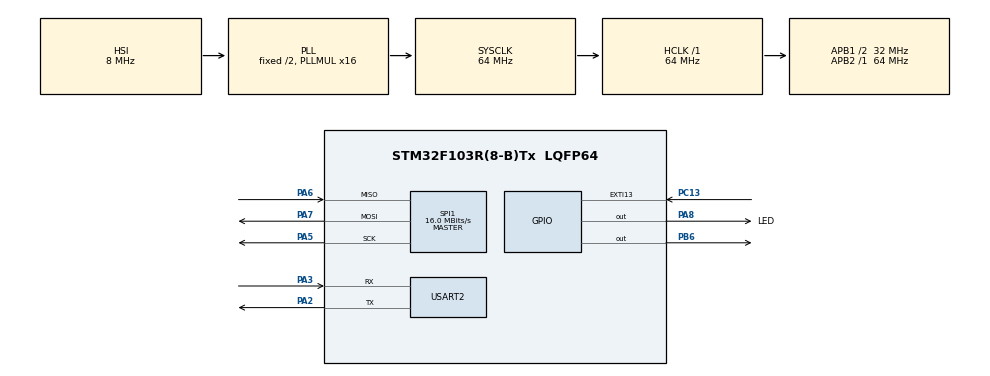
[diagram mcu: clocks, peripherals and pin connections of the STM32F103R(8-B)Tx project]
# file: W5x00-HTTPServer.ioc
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Mcu.Family=STM32F1
Mcu.Name=STM32F103R(8-B)Tx
Mcu.Package=LQFP64
NVIC.EXTI15_10_IRQn=true\:0\:0\:false\:false\:true\:true\:true
NVIC.PriorityGroup=NVIC_PRIORITYGROUP_4
PA13.Mode=Serial_Wire
PA13.Signal=SYS_JTMS-SWDIO
PA14.Mode=Serial_Wire
PA14.Signal=SYS_JTCK-SWCLK
PA2.GPIO_Mode=GPIO_MODE_AF_PP
PA2.GPIO_PuPd=GPIO_NOPULL
PA2.GPIO_Speed=GPIO_SPEED_FREQ_HIGH
PA2.Mode=Asynchronous
PA2.Signal=USART2_TX
PA3.GPIO_Mode=GPIO_MODE_INPUT
PA3.GPIO_PuPd=GPIO_NOPULL
PA3.GPIO_Speed=GPIO_SPEED_FREQ_LOW
PA3.Mode=Asynchronous
PA3.Signal=USART2_RX
PA5.Mode=Full_Duplex_Master
PA5.Signal=SPI1_SCK
PA6.Mode=Full_Duplex_Master
PA6.Signal=SPI1_MISO
PA7.Mode=Full_Duplex_Master
PA7.Signal=SPI1_MOSI
PA8.GPIO_Label=LED
PA8.Signal=GPIO_Output
PB3.Signal=SYS_JTDO-TRACESWO
PB6.Signal=GPIO_Output
PC13-TAMPER-RTC.GPIO_ModeDefaultEXTI=GPIO_MODE_IT_RISING
PC13-TAMPER-RTC.GPIO_PuPd=GPIO_NOPULL
PC13-TAMPER-RTC.Signal=GPXTI13
PC14-OSC32_IN.Mode=LSE-External-Oscillator
PC14-OSC32_IN.Signal=RCC_OSC32_IN
PC15-OSC32_OUT.Mode=LSE-External-Oscillator
PC15-OSC32_OUT.Signal=RCC_OSC32_OUT
PD0-OSC_IN.Mode=HSE-External-Clock-Source
PD0-OSC_IN.Signal=RCC_OSC_IN
PD1-OSC_OUT.Mode=HSE-External-Clock-Source
PD1-OSC_OUT.Signal=RCC_OSC_OUT
ProjectManager.HeapSize=0x200
ProjectManager.StackSize=0x400
ProjectManager.TargetToolchain=MDK-ARM V5.27
RCC.AHBFreq_Value=64000000
RCC.APB1CLKDivider=RCC_HCLK_DIV2
RCC.APB1Freq_Value=32000000
RCC.APB1TimFreq_Value=64000000
RCC.APB2Freq_Value=64000000
RCC.APB2TimFreq_Value=64000000
RCC.HCLKFreq_Value=64000000
RCC.PLLMUL=RCC_PLL_MUL16
RCC.RTCClockSelection=RCC_RTCCLKSOURCE_LSE
RCC.SYSCLKFreq_VALUE=64000000
RCC.SYSCLKSource=RCC_SYSCLKSOURCE_PLLCLK
RCC.USBFreq_Value=64000000
SPI1.BaudRatePrescaler=SPI_BAUDRATEPRESCALER_4
SPI1.CalculateBaudRate=16.0 MBits/s
SPI1.Direction=SPI_DIRECTION_2LINES
SPI1.Mode=SPI_MODE_MASTER
SPI1.VirtualType=VM_MASTER
USART2.VirtualMode=VM_ASYNC
board=NUCLEO-F103RB

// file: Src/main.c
/* USER CODE BEGIN Header */
/**
  ******************************************************************************
  * @file           : main.c
  * @brief          : Main program body
  ******************************************************************************
  * @attention
  *
  * <h2><center>&copy; Copyright (c) 2020 STMicroelectronics.
  * All rights reserved.</center></h2>
  *
  * This software component is licensed by ST under BSD 3-Clause license,
  * the "License"; You may not use this file except in compliance with the
  * License. You may obtain a copy of the License at:
  *                        opensource.org/licenses/BSD-3-Clause
  *
  ******************************************************************************
  */
/* USER CODE END Header */

#include "main.h"

/* USER CODE BEGIN Includes */
#include "stdio.h"
#include "wizchip_conf.h"
#include "httpServer.h"
#include "webpage.h"
#include "wizchip_init.h"

/* USER CODE END Includes */

/* USER CODE BEGIN PD */
#define MAX_HTTPSOCK	4
#define DATA_BUF_SIZE	2048
/* USER CODE END PD */

SPI_HandleTypeDef hspi1;

UART_HandleTypeDef huart2;

/* USER CODE BEGIN PV */
wiz_NetInfo defaultNetInfo = { .mac = {0x00,0x08,0xdc,0xff,0xee,0xdd},
							.ip = {192,168,0,130},
							.sn = {255,255,255,0},
							.gw = {192,168,0,254},
							//.dns = {168, 126, 63, 1},
							.dns = {8, 8, 8, 8},
							.dhcp = NETINFO_STATIC};
uint8_t ethBuf0[2048];
uint8_t RX_BUF[DATA_BUF_SIZE];
uint8_t TX_BUF[DATA_BUF_SIZE];
uint8_t socknumlist[] = {0, 1, 2, 3};
/* USER CODE END PV */

void SystemClock_Config(void);
static void MX_GPIO_Init(void);
static void MX_SPI1_Init(void);
static void MX_USART2_UART_Init(void);
/* USER CODE BEGIN PFP */
void print_network_information(void);
void wep_define_func(void);

 #ifdef KEIL
      #ifdef __GNUC__
      //With GCC, small printf (option LD Linker->Libraries->Small printf
      //set to 'Yes') calls __io_putchar()
         #define PUTCHAR_PROTOTYPE int __io_putchar(int ch)
	  #else
		 #define PUTCHAR_PROTOTYPE int fputc(int ch, FILE *f)
	  #endif /* __GNUC__*/
    #if 1
    PUTCHAR_PROTOTYPE
    {
      HAL_UART_Transmit(&huart2, (uint8_t *)&ch, 1, 0xFFFF);
      return ch;
    }

		int ferror(FILE *f)
	{
	  /* Your implementation of ferror(). */
	  return 0;
	}
    #endif
  #endif

  #ifdef True_STD
  int _write(int fd, char *str, int len)
  {
    for(int i=0; i<len; i++)
    {
      HAL_UART_Transmit(&huart2, (uint8_t *)&str[i], 1, 0xFFFF);
    }
    return len;
  }
 #endif

	char COM_SData(char *Send_Data, int Send_Len)
{
	HAL_UART_Transmit(&huart2, (uint8_t *)Send_Data, Send_Len, 0xFFFF);
	return 0;
}
/* USER CODE END PFP */

int main(void)
{
  /* USER CODE BEGIN 1 */
	uint8_t rxData;
  uint8_t HTTPServer_ip[4]={239,255,255,250};
  uint16_t HTTPServer_port=1900;
  uint8_t i;

  char *test ="test";
  int ret = 0;

  /* USER CODE END 1 */

  /* MCU Configuration--------------------------------------------------------*/

  /* Reset of all peripherals, Initializes the Flash interface and the Systick. */
  HAL_Init();

  /* Configure the system clock */
  SystemClock_Config();

  /* Initialize all configured peripherals */
  MX_GPIO_Init();
  MX_SPI1_Init();
  MX_USART2_UART_Init();
  /* USER CODE BEGIN 2 */

#if _WIZCHIP_ == W5500
	HAL_Delay(1000);
#endif
	WIZCHIPInitialize();
#if _WIZCHIP_ == W5100
  HAL_Delay(3000)
#endif
#if _WIZCHIP_ == W5100S
  printf("version:%.2x\r\n", getVER())
  printf("TMSR:%.2x\r\n", getTMSR());
  //NETUNLOCK();
#endif

   printf("PHYCFGR: %x\r\n",getPHYCFGR());
#if _WIZCHIP_ == W5200  ||  _WIZCHIP_ == W5500
  printf("version:%.2x\r\n", getVERSIONR());
#endif

  wizchip_setnetinfo(&defaultNetInfo);
  print_network_information();

	/* HTTP Server Initialization  */
	httpServer_init(TX_BUF, RX_BUF, MAX_HTTPSOCK, socknumlist);		// Tx/Rx buffers (1kB) / The number of W5500 chip H/W sockets in use

	/* Web content registration (web content in webpage.h, Example web pages) */
	wep_define_func();
  /* USER CODE END 2 */

  /* Infinite loop */
  /* USER CODE BEGIN WHILE */
  while (1)
  {
	   for(i = 0; i < MAX_HTTPSOCK; i++)	httpServer_run(i); 	// HTTP Server handler
    /* USER CODE END WHILE */

  }
}

void SystemClock_Config(void)
{
  RCC_OscInitTypeDef RCC_OscInitStruct = {0};
  RCC_ClkInitTypeDef RCC_ClkInitStruct = {0};

  /** Initializes the CPU, AHB and APB busses clocks
  */
  RCC_OscInitStruct.OscillatorType = RCC_OSCILLATORTYPE_HSI;
  RCC_OscInitStruct.HSIState = RCC_HSI_ON;
  RCC_OscInitStruct.HSICalibrationValue = RCC_HSICALIBRATION_DEFAULT;
  RCC_OscInitStruct.PLL.PLLState = RCC_PLL_ON;
  RCC_OscInitStruct.PLL.PLLSource = RCC_PLLSOURCE_HSI_DIV2;
  RCC_OscInitStruct.PLL.PLLMUL = RCC_PLL_MUL16;
  if (HAL_RCC_OscConfig(&RCC_OscInitStruct) != HAL_OK)
  {
    Error_Handler();
  }
  /** Initializes the CPU, AHB and APB busses clocks
  */
  RCC_ClkInitStruct.ClockType = RCC_CLOCKTYPE_HCLK|RCC_CLOCKTYPE_SYSCLK
                              |RCC_CLOCKTYPE_PCLK1|RCC_CLOCKTYPE_PCLK2;
  RCC_ClkInitStruct.SYSCLKSource = RCC_SYSCLKSOURCE_PLLCLK;
  RCC_ClkInitStruct.AHBCLKDivider = RCC_SYSCLK_DIV1;
  RCC_ClkInitStruct.APB1CLKDivider = RCC_HCLK_DIV2;
  RCC_ClkInitStruct.APB2CLKDivider = RCC_HCLK_DIV1;

  if (HAL_RCC_ClockConfig(&RCC_ClkInitStruct, FLASH_LATENCY_2) != HAL_OK)
  {
    Error_Handler();
  }
}

static void MX_SPI1_Init(void)
{

  /* SPI1 parameter configuration*/
  hspi1.Instance = SPI1;
  hspi1.Init.Mode = SPI_MODE_MASTER;
  hspi1.Init.Direction = SPI_DIRECTION_2LINES;
  hspi1.Init.DataSize = SPI_DATASIZE_8BIT;
  hspi1.Init.CLKPolarity = SPI_POLARITY_LOW;
  hspi1.Init.CLKPhase = SPI_PHASE_1EDGE;
  hspi1.Init.NSS = SPI_NSS_SOFT;
  hspi1.Init.BaudRatePrescaler = SPI_BAUDRATEPRESCALER_4;
  hspi1.Init.FirstBit = SPI_FIRSTBIT_MSB;
  hspi1.Init.TIMode = SPI_TIMODE_DISABLE;
  hspi1.Init.CRCCalculation = SPI_CRCCALCULATION_DISABLE;
  hspi1.Init.CRCPolynomial = 10;
  if (HAL_SPI_Init(&hspi1) != HAL_OK)
  {
    Error_Handler();
  }

}

static void MX_USART2_UART_Init(void)
{

  huart2.Instance = USART2;
  huart2.Init.BaudRate = 115200;
  huart2.Init.WordLength = UART_WORDLENGTH_8B;
  huart2.Init.StopBits = UART_STOPBITS_1;
  huart2.Init.Parity = UART_PARITY_NONE;
  huart2.Init.Mode = UART_MODE_TX_RX;
  huart2.Init.HwFlowCtl = UART_HWCONTROL_NONE;
  huart2.Init.OverSampling = UART_OVERSAMPLING_16;
  if (HAL_UART_Init(&huart2) != HAL_OK)
  {
    Error_Handler();
  }

}

static void MX_GPIO_Init(void)
{
  GPIO_InitTypeDef GPIO_InitStruct = {0};

  /* GPIO Ports Clock Enable */
  __HAL_RCC_GPIOC_CLK_ENABLE();
  __HAL_RCC_GPIOD_CLK_ENABLE();
  __HAL_RCC_GPIOA_CLK_ENABLE();
  __HAL_RCC_GPIOB_CLK_ENABLE();

  /*Configure GPIO pin Output Level */
  HAL_GPIO_WritePin(LED_GPIO_Port, LED_Pin, GPIO_PIN_RESET);

  /*Configure GPIO pin Output Level */
  HAL_GPIO_WritePin(GPIOB, GPIO_PIN_6, GPIO_PIN_RESET);

  /*Configure GPIO pin : PC13 */
  GPIO_InitStruct.Pin = GPIO_PIN_13;
  GPIO_InitStruct.Mode = GPIO_MODE_IT_RISING;
  GPIO_InitStruct.Pull = GPIO_NOPULL;
  HAL_GPIO_Init(GPIOC, &GPIO_InitStruct);

  /*Configure GPIO pin : LED_Pin */
  GPIO_InitStruct.Pin = LED_Pin;
  GPIO_InitStruct.Mode = GPIO_MODE_OUTPUT_PP;
  GPIO_InitStruct.Pull = GPIO_NOPULL;
  GPIO_InitStruct.Speed = GPIO_SPEED_FREQ_LOW;
  HAL_GPIO_Init(LED_GPIO_Port, &GPIO_InitStruct);

  /*Configure GPIO pin : PB6 */
  GPIO_InitStruct.Pin = GPIO_PIN_6;
  GPIO_InitStruct.Mode = GPIO_MODE_OUTPUT_PP;
  GPIO_InitStruct.Pull = GPIO_NOPULL;
  GPIO_InitStruct.Speed = GPIO_SPEED_FREQ_LOW;
  HAL_GPIO_Init(GPIOB, &GPIO_InitStruct);

  /* EXTI interrupt init*/
  HAL_NVIC_SetPriority(EXTI15_10_IRQn, 0, 0);
  HAL_NVIC_EnableIRQ(EXTI15_10_IRQn);

}

/* USER CODE BEGIN 4 */
void print_network_information(void)
{
	wizchip_getnetinfo(&defaultNetInfo);
	printf("Mac address: %02x:%02x:%02x:%02x:%02x:%02x\n\r",defaultNetInfo.mac[0],defaultNetInfo.mac[1],defaultNetInfo.mac[2],defaultNetInfo.mac[3],defaultNetInfo.mac[4],defaultNetInfo.mac[5]);
	printf("IP address : %d.%d.%d.%d\n\r",defaultNetInfo.ip[0],defaultNetInfo.ip[1],defaultNetInfo.ip[2],defaultNetInfo.ip[3]);
	printf("SM Mask	   : %d.%d.%d.%d\n\r",defaultNetInfo.sn[0],defaultNetInfo.sn[1],defaultNetInfo.sn[2],defaultNetInfo.sn[3]);
	printf("Gate way   : %d.%d.%d.%d\n\r",defaultNetInfo.gw[0],defaultNetInfo.gw[1],defaultNetInfo.gw[2],defaultNetInfo.gw[3]);
	printf("DNS Server : %d.%d.%d.%d\n\r",defaultNetInfo.dns[0],defaultNetInfo.dns[1],defaultNetInfo.dns[2],defaultNetInfo.dns[3]);
}

void wep_define_func(void)
{
	// Index page and netinfo / base64 image demo
	reg_httpServer_webContent((uint8_t *)"index.html", (uint8_t *)index_page);				// index.html 		: Main page example
	reg_httpServer_webContent((uint8_t *)"netinfo.html", (uint8_t *)netinfo_page);			// netinfo.html 	: Network information example page
	reg_httpServer_webContent((uint8_t *)"netinfo.js", (uint8_t *)w5x00web_netinfo_js);	// netinfo.js 		: JavaScript for Read Network configuration 	(+ ajax.js)
	reg_httpServer_webContent((uint8_t *)"img.html", (uint8_t *)img_page);					// img.html 		: Base64 Image data example page

	// Example #1
	reg_httpServer_webContent((uint8_t *)"dio.html", (uint8_t *)dio_page);					// dio.html 		: Digital I/O control example page
	reg_httpServer_webContent((uint8_t *)"dio.js", (uint8_t *)w5x00web_dio_js);			// dio.js 			: JavaScript for digital I/O control 	(+ ajax.js)

	// AJAX JavaScript functions
	reg_httpServer_webContent((uint8_t *)"ajax.js", (uint8_t *)w5x00web_ajax_js);			// ajax.js			: JavaScript for AJAX request transfer

}
/* USER CODE END 4 */

void Error_Handler(void)
{
}

/************************ (C) COPYRIGHT STMicroelectronics *****END OF FILE****/
